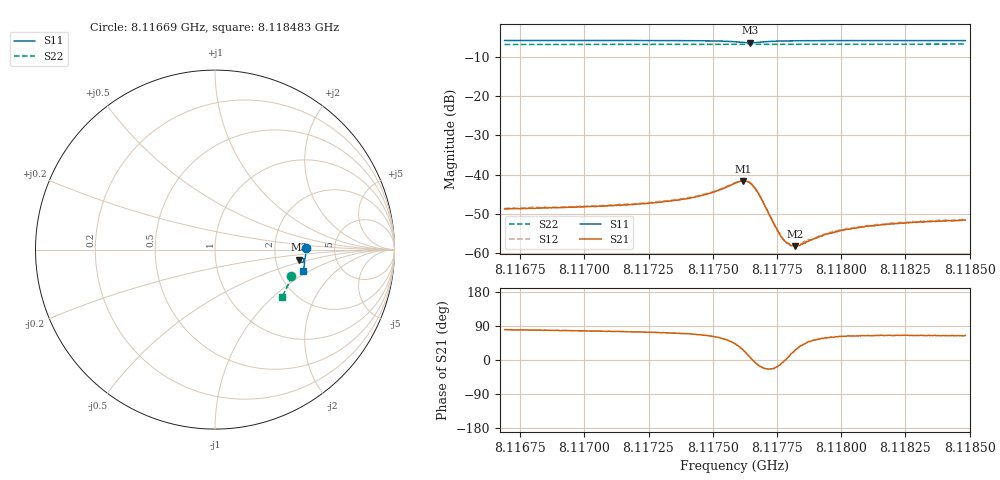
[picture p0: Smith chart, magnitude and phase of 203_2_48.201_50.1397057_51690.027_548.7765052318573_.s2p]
#  HZ  S  RI  R  50.00
! Rohde & Schwarz Vector Network Analyzer
! Rohde-Schwarz,ZNB20-2Port,1311601062101988,3.16
! Created: UTC 3/20/2024, 11:45:07 AM
! freq[Hz]  re:S11  im:S11  re:S21  im:S21  re:S12  im:S12  re:S22  im:S22
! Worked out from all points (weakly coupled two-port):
!   401 points, 8.11669 GHz to 8.118483 GHz, reference 50 ohm
!   highest |S21| = -41.63 dB at 8.117618 GHz (marker M1); lowest = -58.2 dB at 8.11782 GHz (marker M2)
!   lowest |S11| = -6.5 dB at 8.117645 GHz (marker M3), VSWR 2.80, Z = 136 - j20 ohm
!   |S11| at or under -10 dB: nowhere
!   |S22| runs from -6.9 to -6.8 dB; largest |S21 - S12| = 0.00021
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8.1166899e9  0.5065 0.00676  0.000629 0.00361  0.000685 0.00366  0.4251 -0.1486
8.1169903e9  0.5059 -0.0166  0.000886 0.00379  0.000922 0.00387  0.4185 -0.1684
8.1172908e9  0.5034 -0.0413  0.00134 0.00425  0.00145 0.00433  0.4108 -0.1881
8.1174522e9  0.4993 -0.0567  0.0021 0.00494  0.00224 0.00502  0.4063 -0.1986
8.1175239e9  0.4942 -0.0652  0.00325 0.00545  0.00336 0.00549  0.4041 -0.2032
8.1175867e9  0.4826 -0.0709  0.00568 0.00529  0.00585 0.00532  0.4017 -0.2071
8.1176181e9  0.4732 -0.0671  0.00742 0.00371  0.00759 0.00372  0.4005 -0.2087
8.117645e9  0.4697 -0.0569  0.00774 0.000998  0.00792 0.000934  0.3997 -0.21
8.1176629e9  0.4728 -0.0501  0.00676 -0.000621  0.00687 -0.000704  0.3993 -0.2107
8.1176809e9  0.4788 -0.0465  0.00528 -0.00144  0.00538 -0.00152  0.3992 -0.2117
8.1177436e9  0.4937 -0.0522  0.00205 -0.000751  0.00206 -0.000761  0.398 -0.2159
8.1177705e9  0.4961 -0.0563  0.00155 -0.000203  0.00157 -0.000236  0.3973 -0.2177
8.1177929e9  0.4973 -0.0593  0.00132 0.000158  0.00133 0.000146  0.3966 -0.2192
8.1178064e9  0.4977 -0.0612  0.00119 0.000369  0.00119 0.000387  0.3962 -0.2199
8.1178199e9  0.4981 -0.063  0.00112 0.000529  0.00112 0.000549  0.3958 -0.2209
8.1178423e9  0.4986 -0.0656  0.00103 0.00079  0.00106 0.000784  0.3952 -0.2223
8.1178647e9  0.4987 -0.0683  0.000992 0.00101  0.000997 0.00104  0.3942 -0.2239
8.1178871e9  0.4986 -0.0705  0.00093 0.00116  0.000954 0.00117  0.3936 -0.2252
8.117923e9  0.4987 -0.0742  0.000893 0.00138  0.000951 0.0014  0.3925 -0.2275
8.1179947e9  0.498 -0.081  0.000892 0.0017  0.000931 0.00175  0.3901 -0.232
8.1181875e9  0.4955 -0.0971  0.000986 0.00213  0.00103 0.00215  0.3834 -0.2438
8.1184835e9  0.4905 -0.1195  0.00113 0.00239  0.0012 0.00241  0.3727 -0.2617
